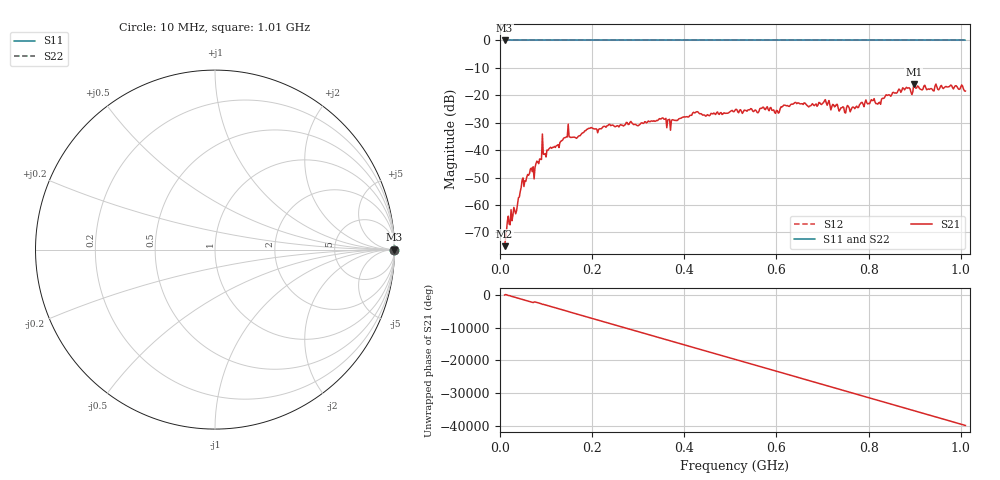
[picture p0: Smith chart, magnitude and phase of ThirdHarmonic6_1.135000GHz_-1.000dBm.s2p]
! 8/16/2025 11:05:29 AM
! C:\ANRITSUVNA\TEMP\TEMP.S2P
! CHANNEL.1
! TR.MEASUREMENT
! RAW.DATA
! RF.CORRECTION.OFF
! AVERAGING.OFF
! IF.BANDWIDTH: 5KHZ
! SWEEPTYPE:  FREQ.SWEEP(Linear)
! Reference Plane Port Info
! PORT:  PORT1  PORT2
! DISTANCE:  0  m  0  m
! TIME:  0  s  0  s
! PHASE.OFFSET:  0  deg.  0  deg.
! LOSS:  0  dB  0  dB
! REF.LOSS:  0  dB  0  dB
! REF.FREQ:  0  Hz  0  Hz
! Power Info
! POWER:  -20  dBm  -20  dBm
! EFF.POWER:  -20  dBm  -20  dBm
! SOURCE.ATTEN:  0  dB  0  dB
! TEST.ATTEN:  0  dB  0  dB
# GHZ S RI R 50.0
! FREQ.GHZ  S11RE  S11IM  S21RE  S21IM  S12RE  S12IM  S22RE  S22IM
!; PortSelection: Port_12
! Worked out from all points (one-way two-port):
!   501 points, 10 MHz to 1.01 GHz, reference 50 ohm
!   highest |S21| = -15.86 dB at 898 MHz (marker M1); lowest = -75.0 dB at 10 MHz (marker M2)
!   lowest |S11| = 0.0 dB at 10 MHz (marker M3)
!   |S11| at or under -10 dB: nowhere
!   |S22| runs from 0.0 to 0.0 dB; largest |S21 - S12| = 1.1
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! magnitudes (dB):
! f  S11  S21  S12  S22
! 10 MHz  0.0  -75.0  0.0  0.0
! 20 MHz  0.0  -67.0  0.0  0.0
! 36 MHz  0.0  -62.0  0.0  0.0
! 46 MHz  0.0  -53.5  0.0  0.0
! 86 MHz  0.0  -43.2  0.0  0.0
! 90 MHz  0.0  -43.4  0.0  0.0
! 124 MHz  0.0  -38.3  0.0  0.0
! 144 MHz  0.0  -35.2  0.0  0.0
! 178 MHz  0.0  -33.8  0.0  0.0
! 344 MHz  0.0  -28.8  0.0  0.0
! 366 MHz  0.0  -28.9  0.0  0.0
! 424 MHz  0.0  -26.3  0.0  0.0
! 510 MHz  0.0  -25.4  0.0  0.0
! 602 MHz  0.0  -25.6  0.0  0.0
! 638 MHz  0.0  -22.9  0.0  0.0
! 678 MHz  0.0  -23.0  0.0  0.0
! 762 MHz  0.0  -25.2  0.0  0.0
! 808 MHz  0.0  -21.9  0.0  0.0
! 822 MHz  0.0  -22.7  0.0  0.0
! 844 MHz  0.0  -19.8  0.0  0.0
! 898 MHz  0.0  -15.9  0.0  0.0
! 1.01 GHz  0.0  -18.4  0.0  0.0
